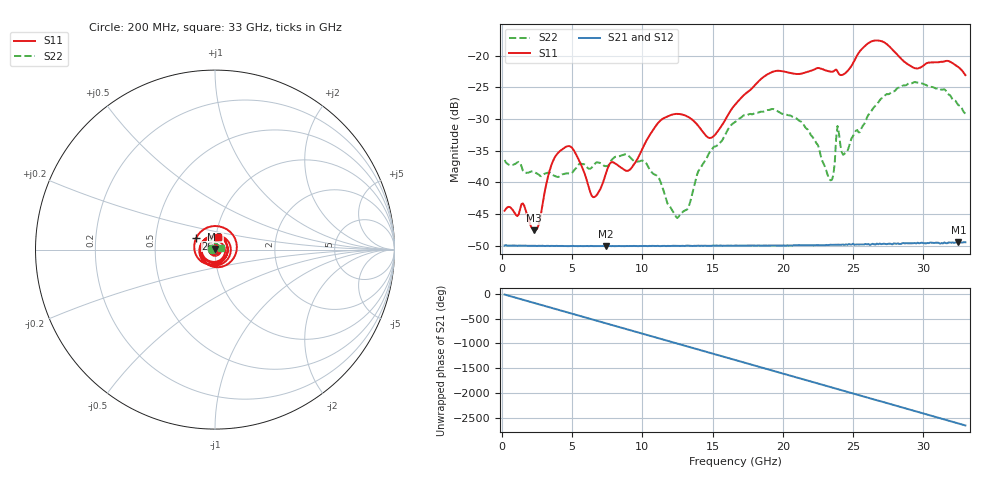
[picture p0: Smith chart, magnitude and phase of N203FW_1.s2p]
# GHZ S RI R 50
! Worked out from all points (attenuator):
!   329 points, 200 MHz to 33 GHz, reference 50 ohm
!   highest |S21| = -49.45 dB at 32.5 GHz (marker M1); lowest = -50.1 dB at 7.4 GHz (marker M2)
!   lowest |S11| = -47.6 dB at 2.3 GHz (marker M3), VSWR 1.01, Z = 50.1 + j0.393 ohm
!   |S11| at or under -10 dB: start of sweep to end of sweep
!   |S22| runs from -45.6 to -24.2 dB; largest |S21 - S12| = 8.8e-05
!   S11 on the Smith chart (normalised r, x): 200 MHz: 1.01, +0.00; 26 GHz: 0.80, +0.10; 33 GHz: 1.03, +0.14
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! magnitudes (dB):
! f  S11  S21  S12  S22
! 200 MHz  -44.5  -50.0  -49.9  -36.5
! 1.5 GHz  -43.3  -50.0  -50.0  -38.2
! 2.3 GHz  -47.6  -50.0  -50.0  -38.4
! 3.9 GHz  -35.6  -50.0  -50.0  -39.1
! 5.7 GHz  -37.5  -50.1  -50.0  -37.1
! 6.5 GHz  -42.3  -50.1  -50.0  -37.4
! 7.4 GHz  -38.7  -50.1  -50.0  -37.5
! 9.2 GHz  -37.8  -50.1  -50.0  -36.2
! 11.2 GHz  -30.5  -50.1  -50.0  -39.4
! 12.5 GHz  -29.2  -50.0  -50.0  -45.6
! 14.9 GHz  -33.0  -50.0  -50.0  -35.0
! 16.6 GHz  -27.8  -50.0  -50.0  -30.5
! 19.3 GHz  -22.6  -50.0  -50.0  -28.4
! 22.1 GHz  -22.3  -49.9  -49.9  -32.8
! 23.5 GHz  -22.6  -49.9  -49.8  -39.6
! 23.9 GHz  -22.5  -49.9  -49.9  -31.1
! 24.3 GHz  -23.0  -49.8  -49.8  -35.7
! 26 GHz  -18.2  -49.8  -49.7  -29.7
! 27.6 GHz  -18.6  -49.7  -49.7  -26.0
! 29.8 GHz  -21.9  -49.6  -49.7  -24.3
! 32.5 GHz  -21.8  -49.4  -49.4  -27.8
! 33 GHz  -23.1  -49.5  -49.5  -29.2
